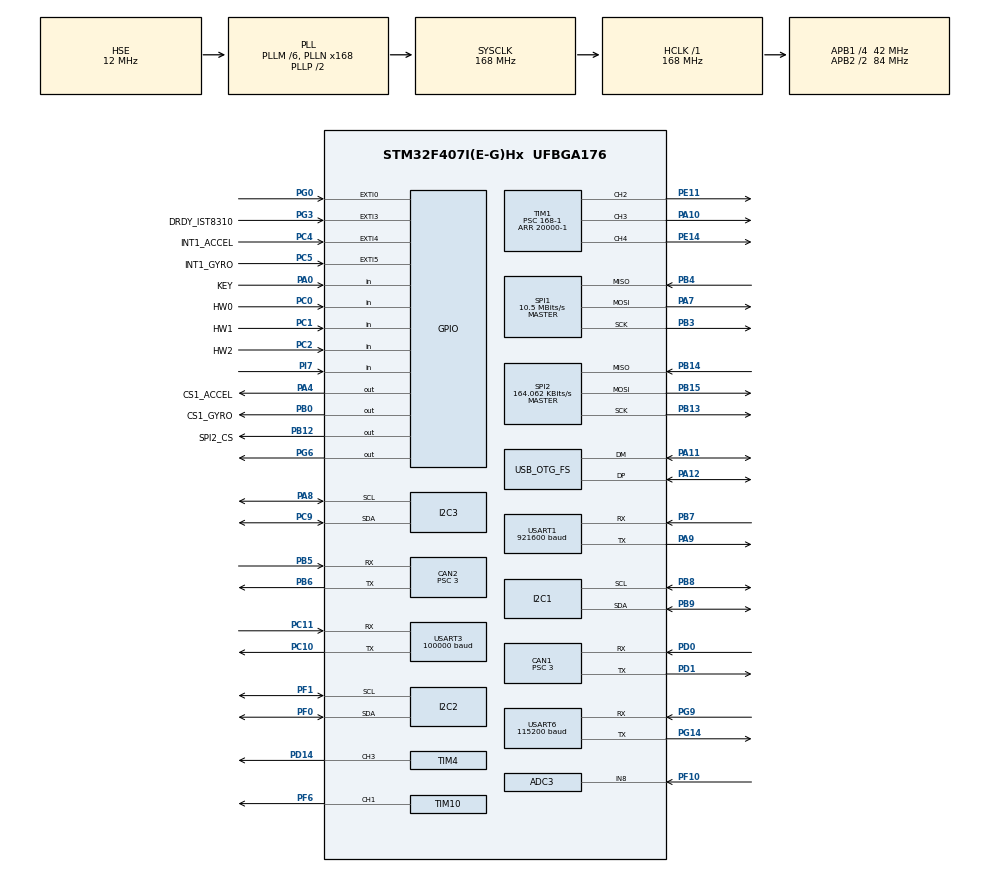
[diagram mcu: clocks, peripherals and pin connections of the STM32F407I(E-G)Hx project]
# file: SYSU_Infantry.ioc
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ADC1.Channel-0\#ChannelRegularConversion=ADC_CHANNEL_TEMPSENSOR
ADC1.ClockPrescaler=ADC_CLOCK_SYNC_PCLK_DIV6
ADC1.NbrOfConversionFlag=1
ADC1.Rank-0\#ChannelRegularConversion=1
ADC1.SamplingTime-0\#ChannelRegularConversion=ADC_SAMPLETIME_3CYCLES
ADC1.master=1
ADC3.Channel-0\#ChannelRegularConversion=ADC_CHANNEL_8
ADC3.ClockPrescaler=ADC_CLOCK_SYNC_PCLK_DIV6
ADC3.NbrOfConversionFlag=1
ADC3.Rank-0\#ChannelRegularConversion=1
ADC3.SamplingTime-0\#ChannelRegularConversion=ADC_SAMPLETIME_3CYCLES
CAN1.BS1=CAN_BS1_10TQ
CAN1.BS2=CAN_BS2_3TQ
CAN1.CalculateBaudRate=1000000
CAN1.CalculateTimeBit=1000
CAN1.CalculateTimeQuantum=71.42857142857143
CAN1.Prescaler=3
CAN2.ABOM=ENABLE
CAN2.BS1=CAN_BS1_10TQ
CAN2.BS2=CAN_BS2_3TQ
CAN2.CalculateBaudRate=1000000
CAN2.CalculateTimeBit=1000
CAN2.CalculateTimeQuantum=71.42857142857143
CAN2.Prescaler=3
Dma.I2C2_RX.9.Direction=DMA_PERIPH_TO_MEMORY
Dma.I2C2_RX.9.FIFOMode=DMA_FIFOMODE_DISABLE
Dma.I2C2_RX.9.Instance=DMA1_Stream2
Dma.I2C2_RX.9.MemDataAlignment=DMA_MDATAALIGN_BYTE
Dma.I2C2_RX.9.MemInc=DMA_MINC_ENABLE
Dma.I2C2_RX.9.Mode=DMA_NORMAL
Dma.I2C2_RX.9.PeriphDataAlignment=DMA_PDATAALIGN_BYTE
Dma.I2C2_RX.9.PeriphInc=DMA_PINC_DISABLE
Dma.I2C2_RX.9.Priority=DMA_PRIORITY_LOW
Dma.I2C2_TX.0.Direction=DMA_MEMORY_TO_PERIPH
Dma.I2C2_TX.0.FIFOMode=DMA_FIFOMODE_DISABLE
Dma.I2C2_TX.0.Instance=DMA1_Stream7
Dma.I2C2_TX.0.MemDataAlignment=DMA_MDATAALIGN_BYTE
Dma.I2C2_TX.0.MemInc=DMA_MINC_ENABLE
Dma.I2C2_TX.0.Mode=DMA_NORMAL
Dma.I2C2_TX.0.PeriphDataAlignment=DMA_PDATAALIGN_BYTE
Dma.I2C2_TX.0.PeriphInc=DMA_PINC_DISABLE
Dma.I2C2_TX.0.Priority=DMA_PRIORITY_HIGH
Dma.Request0=I2C2_TX
Dma.Request1=SPI1_RX
Dma.Request2=SPI1_TX
Dma.Request3=USART1_RX
Dma.Request4=USART1_TX
Dma.Request5=USART3_TX
Dma.Request6=USART3_RX
Dma.Request7=USART6_RX
Dma.Request8=USART6_TX
Dma.Request9=I2C2_RX
Dma.SPI1_RX.1.Direction=DMA_PERIPH_TO_MEMORY
Dma.SPI1_RX.1.FIFOMode=DMA_FIFOMODE_DISABLE
Dma.SPI1_RX.1.Instance=DMA2_Stream2
Dma.SPI1_RX.1.MemDataAlignment=DMA_MDATAALIGN_BYTE
Dma.SPI1_RX.1.MemInc=DMA_MINC_ENABLE
Dma.SPI1_RX.1.Mode=DMA_NORMAL
Dma.SPI1_RX.1.PeriphDataAlignment=DMA_PDATAALIGN_BYTE
Dma.SPI1_RX.1.PeriphInc=DMA_PINC_DISABLE
Dma.SPI1_RX.1.Priority=DMA_PRIORITY_VERY_HIGH
Dma.SPI1_TX.2.Direction=DMA_MEMORY_TO_PERIPH
Dma.SPI1_TX.2.FIFOMode=DMA_FIFOMODE_DISABLE
Dma.SPI1_TX.2.Instance=DMA2_Stream3
Dma.SPI1_TX.2.MemDataAlignment=DMA_MDATAALIGN_BYTE
Dma.SPI1_TX.2.MemInc=DMA_MINC_ENABLE
Dma.SPI1_TX.2.Mode=DMA_NORMAL
Dma.SPI1_TX.2.PeriphDataAlignment=DMA_PDATAALIGN_BYTE
Dma.SPI1_TX.2.PeriphInc=DMA_PINC_DISABLE
Dma.SPI1_TX.2.Priority=DMA_PRIORITY_HIGH
Dma.USART1_RX.3.Direction=DMA_PERIPH_TO_MEMORY
Dma.USART1_RX.3.FIFOMode=DMA_FIFOMODE_DISABLE
Dma.USART1_RX.3.Instance=DMA2_Stream5
Dma.USART1_RX.3.MemDataAlignment=DMA_MDATAALIGN_BYTE
Dma.USART1_RX.3.MemInc=DMA_MINC_ENABLE
Dma.USART1_RX.3.Mode=DMA_NORMAL
Dma.USART1_RX.3.PeriphDataAlignment=DMA_PDATAALIGN_BYTE
Dma.USART1_RX.3.PeriphInc=DMA_PINC_DISABLE
Dma.USART1_RX.3.Priority=DMA_PRIORITY_LOW
Dma.USART1_TX.4.Direction=DMA_MEMORY_TO_PERIPH
Dma.USART1_TX.4.FIFOMode=DMA_FIFOMODE_DISABLE
Dma.USART1_TX.4.Instance=DMA2_Stream7
Dma.USART1_TX.4.MemDataAlignment=DMA_MDATAALIGN_BYTE
Dma.USART1_TX.4.MemInc=DMA_MINC_ENABLE
Dma.USART1_TX.4.Mode=DMA_NORMAL
Dma.USART1_TX.4.PeriphDataAlignment=DMA_PDATAALIGN_BYTE
Dma.USART1_TX.4.PeriphInc=DMA_PINC_DISABLE
Dma.USART1_TX.4.Priority=DMA_PRIORITY_LOW
Dma.USART3_RX.6.Direction=DMA_PERIPH_TO_MEMORY
Dma.USART3_RX.6.FIFOMode=DMA_FIFOMODE_DISABLE
Dma.USART3_RX.6.Instance=DMA1_Stream1
Dma.USART3_RX.6.MemDataAlignment=DMA_MDATAALIGN_BYTE
Dma.USART3_RX.6.MemInc=DMA_MINC_ENABLE
Dma.USART3_RX.6.Mode=DMA_NORMAL
Dma.USART3_RX.6.PeriphDataAlignment=DMA_PDATAALIGN_BYTE
Dma.USART3_RX.6.PeriphInc=DMA_PINC_DISABLE
Dma.USART3_RX.6.Priority=DMA_PRIORITY_VERY_HIGH
Dma.USART3_TX.5.Direction=DMA_MEMORY_TO_PERIPH
Dma.USART3_TX.5.FIFOMode=DMA_FIFOMODE_DISABLE
Dma.USART3_TX.5.Instance=DMA1_Stream3
Dma.USART3_TX.5.MemDataAlignment=DMA_MDATAALIGN_BYTE
Dma.USART3_TX.5.MemInc=DMA_MINC_ENABLE
Dma.USART3_TX.5.Mode=DMA_NORMAL
Dma.USART3_TX.5.PeriphDataAlignment=DMA_PDATAALIGN_BYTE
Dma.USART3_TX.5.PeriphInc=DMA_PINC_DISABLE
Dma.USART3_TX.5.Priority=DMA_PRIORITY_LOW
Dma.USART6_RX.7.Direction=DMA_PERIPH_TO_MEMORY
Dma.USART6_RX.7.FIFOMode=DMA_FIFOMODE_DISABLE
Dma.USART6_RX.7.Instance=DMA2_Stream1
Dma.USART6_RX.7.MemDataAlignment=DMA_MDATAALIGN_BYTE
Dma.USART6_RX.7.MemInc=DMA_MINC_ENABLE
Dma.USART6_RX.7.Mode=DMA_NORMAL
Dma.USART6_RX.7.PeriphDataAlignment=DMA_PDATAALIGN_BYTE
Dma.USART6_RX.7.PeriphInc=DMA_PINC_DISABLE
Dma.USART6_RX.7.Priority=DMA_PRIORITY_LOW
Dma.USART6_TX.8.Direction=DMA_MEMORY_TO_PERIPH
Dma.USART6_TX.8.FIFOMode=DMA_FIFOMODE_DISABLE
Dma.USART6_TX.8.Instance=DMA2_Stream6
Dma.USART6_TX.8.MemDataAlignment=DMA_MDATAALIGN_BYTE
Dma.USART6_TX.8.MemInc=DMA_MINC_ENABLE
Dma.USART6_TX.8.Mode=DMA_NORMAL
Dma.USART6_TX.8.PeriphDataAlignment=DMA_PDATAALIGN_BYTE
Dma.USART6_TX.8.PeriphInc=DMA_PINC_DISABLE
Dma.USART6_TX.8.Priority=DMA_PRIORITY_LOW
FREERTOS.Tasks01=defaultTask,0,128,StartDefaultTask,Default,NULL,Dynamic,NULL,NULL
I2C1.I2C_Mode=I2C_Fast
I2C2.I2C_Mode=I2C_Fast
I2C3.I2C_Mode=I2C_Fast
Mcu.Family=STM32F4
Mcu.Name=STM32F407I(E-G)Hx
Mcu.Package=UFBGA176
NVIC.CAN1_RX0_IRQn=true\:5\:0\:false\:false\:true\:true\:true\:true\:true
NVIC.CAN1_RX1_IRQn=true\:5\:0\:false\:false\:true\:true\:true\:true\:true
NVIC.CAN2_RX0_IRQn=true\:5\:0\:false\:false\:true\:true\:true\:true\:true
NVIC.CAN2_RX1_IRQn=true\:5\:0\:false\:false\:true\:true\:true\:true\:true
NVIC.DMA1_Stream1_IRQn=true\:5\:0\:false\:false\:true\:true\:false\:true\:true
NVIC.DMA1_Stream2_IRQn=true\:5\:0\:false\:false\:true\:true\:false\:true\:true
NVIC.DMA1_Stream3_IRQn=true\:5\:0\:false\:false\:true\:true\:false\:true\:true
NVIC.DMA1_Stream7_IRQn=true\:5\:0\:false\:false\:true\:true\:false\:true\:true
NVIC.DMA2_Stream1_IRQn=true\:5\:0\:false\:false\:true\:true\:false\:true\:true
NVIC.DMA2_Stream2_IRQn=true\:5\:0\:false\:false\:true\:true\:false\:true\:true
NVIC.DMA2_Stream3_IRQn=true\:5\:0\:false\:false\:true\:true\:false\:true\:true
NVIC.DMA2_Stream5_IRQn=true\:5\:0\:false\:false\:true\:true\:false\:true\:true
NVIC.DMA2_Stream6_IRQn=true\:5\:0\:false\:false\:true\:true\:false\:true\:true
NVIC.DMA2_Stream7_IRQn=true\:5\:0\:false\:false\:true\:true\:false\:true\:true
NVIC.I2C2_ER_IRQn=true\:5\:0\:false\:false\:true\:true\:true\:true\:true
NVIC.I2C2_EV_IRQn=true\:5\:0\:false\:false\:true\:true\:true\:true\:true
NVIC.OTG_FS_IRQn=true\:5\:0\:false\:false\:true\:true\:false\:true\:true
NVIC.PriorityGroup=NVIC_PRIORITYGROUP_4
NVIC.SPI1_IRQn=true\:5\:0\:false\:false\:true\:true\:true\:true\:true
NVIC.TIM6_DAC_IRQn=true\:0\:0\:true\:false\:true\:false\:false\:true\:true
NVIC.TimeBase=TIM6_DAC_IRQn
NVIC.TimeBaseIP=TIM6
NVIC.USART1_IRQn=true\:5\:0\:false\:false\:true\:true\:true\:true\:true
NVIC.USART3_IRQn=true\:5\:0\:false\:false\:true\:true\:false\:true\:true
NVIC.USART6_IRQn=true\:5\:0\:false\:false\:true\:true\:false\:true\:true
PA0-WKUP.GPIO_Label=KEY
PA0-WKUP.GPIO_PuPd=GPIO_PULLUP
PA0-WKUP.Signal=GPIO_Input
PA10.Signal=S_TIM1_CH3
PA11.Mode=Device_Only
PA11.Signal=USB_OTG_FS_DM
PA12.Mode=Device_Only
PA12.Signal=USB_OTG_FS_DP
PA13.Mode=Serial_Wire
PA13.Signal=SYS_JTMS-SWDIO
PA14.Mode=Serial_Wire
PA14.Signal=SYS_JTCK-SWCLK
PA4.GPIO_Label=CS1_ACCEL
PA4.GPIO_PuPd=GPIO_PULLUP
PA4.GPIO_Speed=GPIO_SPEED_FREQ_HIGH
PA4.PinState=GPIO_PIN_SET
PA4.Signal=GPIO_Output
PA7.Mode=Full_Duplex_Master
PA7.Signal=SPI1_MOSI
PA8.Mode=I2C
PA8.Signal=I2C3_SCL
PA9.Mode=Asynchronous
PA9.Signal=USART1_TX
PB0.GPIO_Label=CS1_GYRO
PB0.GPIO_PuPd=GPIO_PULLUP
PB0.GPIO_Speed=GPIO_SPEED_FREQ_HIGH
PB0.PinState=GPIO_PIN_SET
PB0.Signal=GPIO_Output
PB12.GPIO_Label=SPI2_CS
PB12.GPIO_PuPd=GPIO_PULLUP
PB12.GPIO_Speed=GPIO_SPEED_FREQ_MEDIUM
PB12.PinState=GPIO_PIN_SET
PB12.Signal=GPIO_Output
PB13.Mode=Full_Duplex_Master
PB13.Signal=SPI2_SCK
PB14.Mode=Full_Duplex_Master
PB14.Signal=SPI2_MISO
PB15.Mode=Full_Duplex_Master
PB15.Signal=SPI2_MOSI
PB3.Mode=Full_Duplex_Master
PB3.Signal=SPI1_SCK
PB4.Mode=Full_Duplex_Master
PB4.Signal=SPI1_MISO
PB5.Mode=CAN_Activate
PB5.Signal=CAN2_RX
PB6.Mode=CAN_Activate
PB6.Signal=CAN2_TX
PB7.Mode=Asynchronous
PB7.Signal=USART1_RX
PB8.Mode=I2C
PB8.Signal=I2C1_SCL
PB9.Mode=I2C
PB9.Signal=I2C1_SDA
PC0.GPIO_Label=HW0
PC0.Signal=GPIO_Input
PC1.GPIO_Label=HW1
PC1.Signal=GPIO_Input
PC10.Mode=Asynchronous
PC10.Signal=USART3_TX
PC11.Mode=Asynchronous
PC11.Signal=USART3_RX
PC2.GPIO_Label=HW2
PC2.Signal=GPIO_Input
PC4.GPIO_Label=INT1_ACCEL
PC4.GPIO_ModeDefaultEXTI=GPIO_MODE_IT_FALLING
PC4.GPIO_PuPd=GPIO_PULLUP
PC4.Signal=GPXTI4
PC5.GPIO_Label=INT1_GYRO
PC5.GPIO_ModeDefaultEXTI=GPIO_MODE_IT_FALLING
PC5.GPIO_PuPd=GPIO_PULLUP
PC5.Signal=GPXTI5
PC9.Mode=I2C
PC9.Signal=I2C3_SDA
PD0.Mode=CAN_Activate
PD0.Signal=CAN1_RX
PD1.Mode=CAN_Activate
PD1.Signal=CAN1_TX
PD14.Signal=S_TIM4_CH3
PE11.Signal=S_TIM1_CH2
PE14.Signal=S_TIM1_CH4
PF0.Mode=I2C
PF0.Signal=I2C2_SDA
PF1.Mode=I2C
PF1.Signal=I2C2_SCL
PF10.Mode=IN8
PF10.Signal=ADC3_IN8
PF6.Signal=S_TIM10_CH1
PG0.GPIO_PuPd=GPIO_PULLUP
PG0.Signal=GPXTI0
PG14.Mode=Asynchronous
PG14.Signal=USART6_TX
PG3.GPIO_Label=DRDY_IST8310
PG3.GPIO_ModeDefaultEXTI=GPIO_MODE_IT_FALLING
PG3.GPIO_PuPd=GPIO_PULLUP
PG3.Signal=GPXTI3
PG6.Signal=GPIO_Output
PG9.Mode=Asynchronous
PG9.Signal=USART6_RX
PH0-OSC_IN.Mode=HSE-External-Oscillator
PH0-OSC_IN.Signal=RCC_OSC_IN
PH1-OSC_OUT.Mode=HSE-External-Oscillator
PH1-OSC_OUT.Signal=RCC_OSC_OUT
PI7.Signal=GPIO_Input
ProjectManager.HeapSize=0x1000
ProjectManager.StackSize=0x400
ProjectManager.TargetToolchain=CMake
RCC.48MHZClocksFreq_Value=48000000
RCC.AHBFreq_Value=168000000
RCC.APB1CLKDivider=RCC_HCLK_DIV4
RCC.APB1Freq_Value=42000000
RCC.APB1TimFreq_Value=84000000
RCC.APB2CLKDivider=RCC_HCLK_DIV2
RCC.APB2Freq_Value=84000000
RCC.APB2TimFreq_Value=168000000
RCC.CortexFreq_Value=168000000
RCC.HCLKFreq_Value=168000000
RCC.HSE_VALUE=12000000
RCC.HSI_VALUE=16000000
RCC.LSE_VALUE=32768
RCC.PLLM=6
RCC.PLLN=168
RCC.PLLQ=7
RCC.SYSCLKFreq_VALUE=168000000
RCC.SYSCLKSource=RCC_SYSCLKSOURCE_PLLCLK
RCC.VCOOutputFreq_Value=336000000
RTC.SynchPrediv=3199
SH.S_TIM10_CH1.0=TIM10_CH1,PWM Generation1 CH1
SH.S_TIM1_CH2.0=TIM1_CH2,PWM Generation2 CH2
SH.S_TIM1_CH3.0=TIM1_CH3,PWM Generation3 CH3
SH.S_TIM1_CH4.0=TIM1_CH4,PWM Generation4 CH4
SH.S_TIM4_CH3.0=TIM4_CH3,PWM Generation3 CH3
SPI1.BaudRatePrescaler=SPI_BAUDRATEPRESCALER_8
SPI1.CLKPhase=SPI_PHASE_2EDGE
SPI1.CLKPolarity=SPI_POLARITY_HIGH
SPI1.CalculateBaudRate=10.5 MBits/s
SPI1.Direction=SPI_DIRECTION_2LINES
SPI1.Mode=SPI_MODE_MASTER
SPI1.VirtualType=VM_MASTER
SPI2.BaudRatePrescaler=SPI_BAUDRATEPRESCALER_256
SPI2.CLKPhase=SPI_PHASE_2EDGE
SPI2.CLKPolarity=SPI_POLARITY_HIGH
SPI2.CalculateBaudRate=164.062 KBits/s
SPI2.Direction=SPI_DIRECTION_2LINES
SPI2.Mode=SPI_MODE_MASTER
SPI2.VirtualType=VM_MASTER
TIM1.Channel-PWM\ Generation2\ CH2=TIM_CHANNEL_2
TIM1.Channel-PWM\ Generation3\ CH3=TIM_CHANNEL_3
TIM1.Channel-PWM\ Generation4\ CH4=TIM_CHANNEL_4
TIM1.Period=20000-1
TIM1.Prescaler=168-1
TIM10.Channel=TIM_CHANNEL_1
TIM10.Period=1000-1
TIM10.Prescaler=168-1
TIM4.Channel-PWM\ Generation3\ CH3=TIM_CHANNEL_3
TIM4.Prescaler=168-1
USART1.BaudRate=921600
USART1.VirtualMode=VM_ASYNC
USART3.BaudRate=100000
USART3.VirtualMode=VM_ASYNC
USART3.WordLength=WORDLENGTH_9B
USART6.BaudRate=115200
USART6.VirtualMode=VM_ASYNC
USB_DEVICE.CLASS_NAME_FS=CDC
USB_DEVICE.VirtualMode-CDC_FS=Cdc
USB_DEVICE.VirtualModeFS=Cdc_FS
USB_OTG_FS.VirtualMode=Device_Only
VP_ADC1_TempSens_Input.Mode=IN-TempSens
VP_ADC1_Vref_Input.Mode=IN-Vrefint
VP_CRC_VS_CRC.Mode=CRC_Activate
VP_FREERTOS_VS_CMSIS_V1.Mode=CMSIS_V1
VP_RNG_VS_RNG.Mode=RNG_Activate
VP_RTC_VS_RTC_Activate.Mode=RTC_Enabled
VP_SYS_VS_tim6.Mode=TIM6
VP_TIM10_VS_ClockSourceINT.Mode=Enable_Timer
VP_TIM1_VS_ClockSourceINT.Mode=Internal
VP_USB_DEVICE_VS_USB_DEVICE_CDC_FS.Mode=CDC_FS
board=custom

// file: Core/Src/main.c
/* USER CODE BEGIN Header */
/**
  ******************************************************************************
  * @file           : main.c
  * @brief          : Main program body
  ******************************************************************************
  * @attention
  *
  * Copyright (c) 2025 STMicroelectronics.
  * All rights reserved.
  *
  * This software is licensed under terms that can be found in the LICENSE file
  * in the root directory of this software component.
  * If no LICENSE file comes with this software, it is provided AS-IS.
  *
  ******************************************************************************
  */
/* USER CODE END Header */
#include "main.h"
#include "cmsis_os.h"
#include "adc.h"
#include "can.h"
#include "crc.h"
#include "dma.h"
#include "i2c.h"
#include "rng.h"
#include "rtc.h"
#include "spi.h"
#include "tim.h"
#include "usart.h"
#include "usb_device.h"
#include "gpio.h"

/* USER CODE BEGIN Includes */
#include "bsp_can.h"
#include "bsp_dwt.h"
/* USER CODE END Includes */

void SystemClock_Config(void);
void MX_FREERTOS_Init(void);

/* USER CODE BEGIN 0 */
uint8_t mse[10] ="HELLO!";

// 串口重定向到 Uart1

int _write(int fd, char *ptr, int len)
{
  HAL_UART_Transmit(&huart1, (uint8_t*)ptr, len, 0xFFFF);
  return len;
}

/* USER CODE END 0 */

int main(void)
{

  /* MCU Configuration--------------------------------------------------------*/

  /* Reset of all peripherals, Initializes the Flash interface and the Systick. */
  HAL_Init();

  /* Configure the system clock */
  SystemClock_Config();

  /* Initialize all configured peripherals */
  MX_GPIO_Init();
  MX_DMA_Init();
  MX_ADC1_Init();
  MX_ADC3_Init();
  MX_RTC_Init();
  MX_CAN1_Init();
  MX_CAN2_Init();
  MX_TIM1_Init();
  MX_I2C1_Init();
  MX_I2C2_Init();
  MX_I2C3_Init();
  MX_SPI1_Init();
  MX_SPI2_Init();
  MX_USART1_UART_Init();
  MX_USART3_UART_Init();
  MX_USART6_UART_Init();
  MX_CRC_Init();
  MX_RNG_Init();
  MX_TIM4_Init();
  MX_TIM10_Init();
  /* USER CODE BEGIN 2 */
  Can_init();

  DWT_Init(168);

  HAL_TIM_PWM_Start(&htim4, TIM_CHANNEL_3);
  HAL_TIM_PWM_Start(&htim10, TIM_CHANNEL_1);
  MX_USB_DEVICE_Init();

  /* USER CODE END 2 */

  /* Call init function for freertos objects (in cmsis_os2.c) */
  MX_FREERTOS_Init();

  /* Start scheduler */
  osKernelStart();

  /* We should never get here as control is now taken by the scheduler */

  /* Infinite loop */
  while (1)
  {

  }
}

void SystemClock_Config(void)
{
  RCC_OscInitTypeDef RCC_OscInitStruct = {0};
  RCC_ClkInitTypeDef RCC_ClkInitStruct = {0};

  /** Configure the main internal regulator output voltage
  */
  __HAL_RCC_PWR_CLK_ENABLE();
  __HAL_PWR_VOLTAGESCALING_CONFIG(PWR_REGULATOR_VOLTAGE_SCALE1);

  /** Initializes the RCC Oscillators according to the specified parameters
  * in the RCC_OscInitTypeDef structure.
  */
  RCC_OscInitStruct.OscillatorType = RCC_OSCILLATORTYPE_LSI|RCC_OSCILLATORTYPE_HSE;
  RCC_OscInitStruct.HSEState = RCC_HSE_ON;
  RCC_OscInitStruct.LSIState = RCC_LSI_ON;
  RCC_OscInitStruct.PLL.PLLState = RCC_PLL_ON;
  RCC_OscInitStruct.PLL.PLLSource = RCC_PLLSOURCE_HSE;
  RCC_OscInitStruct.PLL.PLLM = 6;
  RCC_OscInitStruct.PLL.PLLN = 168;
  RCC_OscInitStruct.PLL.PLLP = RCC_PLLP_DIV2;
  RCC_OscInitStruct.PLL.PLLQ = 7;
  if (HAL_RCC_OscConfig(&RCC_OscInitStruct) != HAL_OK)
  {
    Error_Handler();
  }

  /** Initializes the CPU, AHB and APB buses clocks
  */
  RCC_ClkInitStruct.ClockType = RCC_CLOCKTYPE_HCLK|RCC_CLOCKTYPE_SYSCLK
                              |RCC_CLOCKTYPE_PCLK1|RCC_CLOCKTYPE_PCLK2;
  RCC_ClkInitStruct.SYSCLKSource = RCC_SYSCLKSOURCE_PLLCLK;
  RCC_ClkInitStruct.AHBCLKDivider = RCC_SYSCLK_DIV1;
  RCC_ClkInitStruct.APB1CLKDivider = RCC_HCLK_DIV4;
  RCC_ClkInitStruct.APB2CLKDivider = RCC_HCLK_DIV2;

  if (HAL_RCC_ClockConfig(&RCC_ClkInitStruct, FLASH_LATENCY_5) != HAL_OK)
  {
    Error_Handler();
  }
}

void HAL_TIM_PeriodElapsedCallback(TIM_HandleTypeDef *htim)
{
  if (htim->Instance == TIM6)
  {
    HAL_IncTick();
  }
}

void Error_Handler(void)
{
  __disable_irq();
  while (1)
  {
  }
}

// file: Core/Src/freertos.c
/* USER CODE BEGIN Header */
/**
  ******************************************************************************
  * File Name          : freertos.c
  * Description        : Code for freertos applications
  ******************************************************************************
  * @attention
  *
  * Copyright (c) 2025 STMicroelectronics.
  * All rights reserved.
  *
  * This software is licensed under terms that can be found in the LICENSE file
  * in the root directory of this software component.
  * If no LICENSE file comes with this software, it is provided AS-IS.
  *
  ******************************************************************************
  */
/* USER CODE END Header */

#include "FreeRTOS.h"
#include "task.h"
#include "main.h"
#include "cmsis_os.h"

/* USER CODE BEGIN Includes */
#include "usart.h"
#include "robot_task.h"

/* USER CODE END Includes */

/* USER CODE BEGIN PD */
extern uint8_t mse[10];
/* USER CODE END PD */

osThreadId defaultTaskHandle;

void StartDefaultTask(void const * argument);

extern void MX_USB_DEVICE_Init(void);
void MX_FREERTOS_Init(void); /* (MISRA C 2004 rule 8.1) */

/* GetIdleTaskMemory prototype (linked to static allocation support) */
void vApplicationGetIdleTaskMemory( StaticTask_t **ppxIdleTaskTCBBuffer, StackType_t **ppxIdleTaskStackBuffer, uint32_t *pulIdleTaskStackSize );

/* USER CODE BEGIN GET_IDLE_TASK_MEMORY */
static StaticTask_t xIdleTaskTCBBuffer;
static StackType_t xIdleStack[configMINIMAL_STACK_SIZE];

void vApplicationGetIdleTaskMemory( StaticTask_t **ppxIdleTaskTCBBuffer, StackType_t **ppxIdleTaskStackBuffer, uint32_t *pulIdleTaskStackSize )
{
  *ppxIdleTaskTCBBuffer = &xIdleTaskTCBBuffer;
  *ppxIdleTaskStackBuffer = &xIdleStack[0];
  *pulIdleTaskStackSize = configMINIMAL_STACK_SIZE;
  /* place for user code */
}
/* USER CODE END GET_IDLE_TASK_MEMORY */

void MX_FREERTOS_Init(void) {

  /* Create the thread(s) */
  /* definition and creation of defaultTask */
  osThreadDef(defaultTask, StartDefaultTask, osPriorityNormal, 0, 128);
  defaultTaskHandle = osThreadCreate(osThread(defaultTask), NULL);

  /* USER CODE BEGIN RTOS_THREADS */
  /* add threads, ... */
  Robot_task_init();  // 初始化机器人任务
  /* USER CODE END RTOS_THREADS */

}

void StartDefaultTask(void const * argument)
{
  /* init code for USB_DEVICE */
  /* USER CODE BEGIN StartDefaultTask */
  /* Infinite loop */
  for(;;)
  {
    //HAL_UART_Transmit(&huart1,mse,6,100);
    osDelay(1);
  }
  /* USER CODE END StartDefaultTask */
}
